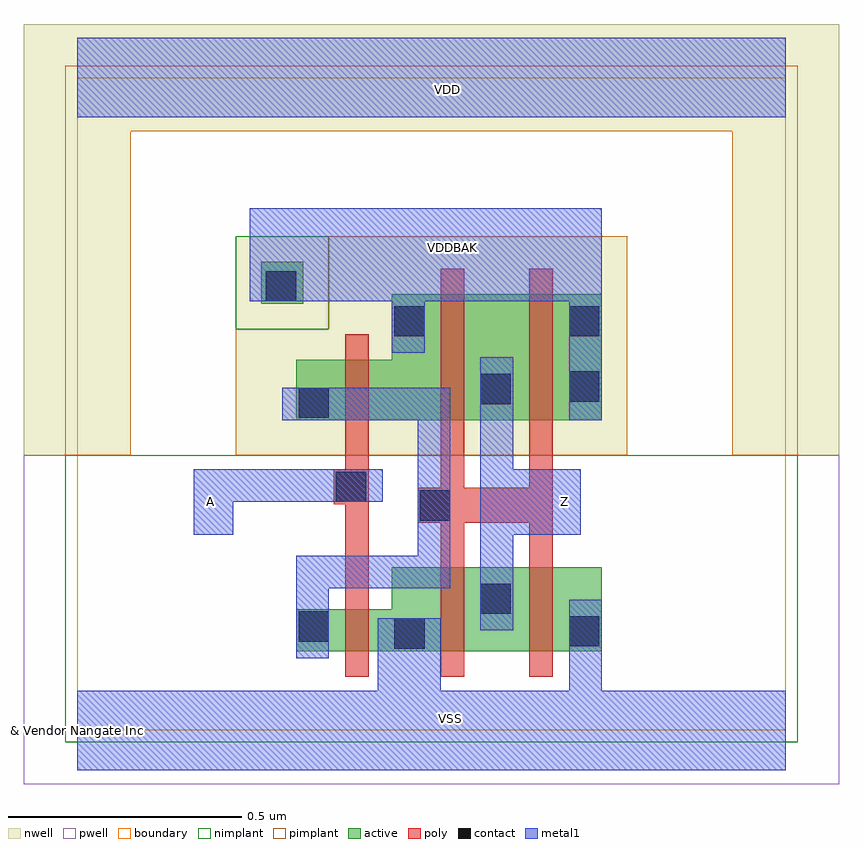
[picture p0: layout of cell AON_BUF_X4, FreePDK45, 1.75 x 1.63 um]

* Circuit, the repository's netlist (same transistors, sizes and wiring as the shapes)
* 
* ******************************************************************************
* *                                                                            *
* *                   Copyright (C) 2004-2011, Nangate Inc.                    *
* *                           All rights reserved.                             *
* *                                                                            *
* * Nangate and the Nangate logo are trademarks of Nangate Inc.                *
* *                                                                            *
* * All trademarks, logos, software marks, and trade names (collectively the   *
* * "Marks") in this program are proprietary to Nangate or other respective    *
* * owners that have granted Nangate the right and license to use such Marks.  *
* * You are not permitted to use the Marks without the prior written consent   *
* * of Nangate or such third party that may own the Marks.                     *
* *                                                                            *
* * This file has been provided pursuant to a License Agreement containing     *
* * restrictions on its use. This file contains valuable trade secrets and     *
* * proprietary information of Nangate Inc., and is protected by U.S. and      *
* * international laws and/or treaties.                                        *
* *                                                                            *
* * The copyright notice(s) in this file does not indicate actual or intended  *
* * publication of this file.                                                  *
* *                                                                            *
* *     NGLibraryCreator, v2010.08-HR32-SP3-2010-08-05 - build 1009061800      *
* *                                                                            *
* ******************************************************************************
* 
* 
* Running on server08.nangate.com for user Giancarlo Franciscatto (gfr).
* Local time is now Thu, 6 Jan 2011, 19:45:43.
* Main process id is 3320.
*
********************************************************************************
*                                                                              *
* Cellname:   AON_BUF_X4.                                                      *
*                                                                              *
* Technology: NCSU FreePDK 45nm.                                               *
* Format:     Cdl.                                                             *
*                                                                              *
* Written on server08.nangate.com for user Giancarlo Franciscatto (gfr)        *
* at 19:45:43 on Thu, 6 Jan 2011.                                              *
*                                                                              *
********************************************************************************
.SUBCKT AON_BUF_X4 A Z VDD VDDBAK VSS
*.PININFO A:I Z:O VDD:P VDDBAK:P VSS:G 
*.EQN Z=A
M_i_0 VSS A net_000 VSS NMOS_VTL W=0.090000U L=0.050000U
M_i_7 Z net_000 VSS VSS NMOS_VTL W=0.180000U L=0.050000U
M_i_14 VSS net_000 Z VSS NMOS_VTL W=0.180000U L=0.050000U
M_i_20 VDDBAK A net_000 VDDBAK PMOS_VTL W=0.130000U L=0.050000U
M_i_27 Z net_000 VDDBAK VDDBAK PMOS_VTL W=0.270000U L=0.050000U
M_i_33 VDDBAK net_000 Z VDDBAK PMOS_VTL W=0.270000U L=0.050000U
.ENDS 

********************************************************************************
*
* END
*
********************************************************************************

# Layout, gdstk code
import gdstk
lib = gdstk.Library(unit=1e-6, precision=1e-10)
def R(c, l, rs):  # rectangles x0, y0, x1, y1
    for r in rs: c.add(gdstk.rectangle(r[:2], r[2:], *l))
def P(c, l, *ps):  # polygons
    for p in ps: c.add(gdstk.Polygon(p, *l))
active = (1, 0)
pwell = (2, 0)
nwell = (3, 0)
nimplant = (4, 0)
pimplant = (5, 0)
poly = (9, 0)
contact = (10, 0)
metal1 = (11, 0)
boundary = (235, 0)

aon_buf_x4 = lib.new_cell('AON_BUF_X4')
R(aon_buf_x4, active, [(0.395,0.915,0.485,1.005)])
P(aon_buf_x4, active, [(0.47,0.17),(1.125,0.17),(1.125,0.35),(0.675,0.35),(0.675,0.26),(0.47,0.26)],
  [(0.47,0.665),(1.125,0.665),(1.125,0.935),(0.675,0.935),(0.675,0.795),(0.47,0.795)])
R(aon_buf_x4, pwell, [(-0.115,-0.115,1.635,0.59)])
R(aon_buf_x4, nwell, [(0.34,0.59,1.18,1.06)])
P(aon_buf_x4, nwell, [(-0.115,0.59),(0.115,0.59),(0.115,1.285),(1.405,1.285),(1.405,0.59),(1.635,0.59),(1.635,1.515),(-0.115,1.515)])
R(aon_buf_x4, nimplant, [(-0.025,-0.025,1.545,0.59), (0.34,0.86,0.54,1.06)])
P(aon_buf_x4, pimplant, [(0.34,0.59),(1.18,0.59),(1.18,1.06),(0.54,1.06),(0.54,0.86),(0.34,0.86)],
  [(-0.025,0.59),(0.115,0.59),(0.115,1.285),(1.405,1.285),(1.405,0.59),(1.545,0.59),(1.545,1.425),(-0.025,1.425)])
P(aon_buf_x4, poly, [(0.55,0.485),(0.575,0.485),(0.575,0.115),(0.625,0.115),(0.625,0.85),(0.575,0.85),(0.575,0.56),(0.55,0.56)],
  [(0.73,0.445),(0.78,0.445),(0.78,0.115),(0.83,0.115),(0.83,0.445),(0.97,0.445),(0.97,0.115),(1.02,0.115),(1.02,0.99),(0.97,0.99),(0.97,0.52),(0.83,0.52),(0.83,0.99),(0.78,0.99),(0.78,0.52),(0.73,0.52)])
R(aon_buf_x4, contact, [(0.68,0.175,0.745,0.24), (1.055,0.18,1.12,0.245), (0.475,0.19,0.54,0.255), (0.865,0.25,0.93,0.315), (0.735,0.45,0.8,0.515), (0.555,0.49,0.62,0.555), (0.475,0.67,0.54,0.735), (0.865,0.7,0.93,0.765), (1.055,0.705,1.12,0.77), (0.68,0.845,0.745,0.91), (1.055,0.845,1.12,0.91), (0.405,0.92,0.47,0.985)])
R(aon_buf_x4, metal1, [(0,1.315,1.52,1.485)])
P(aon_buf_x4, metal1, [(0,-0.085),(1.52,-0.085),(1.52,0.085),(1.125,0.085),(1.125,0.28),(1.055,0.28),(1.055,0.085),(0.78,0.085),(0.78,0.24),(0.645,0.24),(0.645,0.085),(0,0.085)],
  [(0.25,0.42),(0.335,0.42),(0.335,0.49),(0.655,0.49),(0.655,0.56),(0.25,0.56)],
  [(0.44,0.665),(0.73,0.665),(0.73,0.375),(0.47,0.375),(0.47,0.155),(0.54,0.155),(0.54,0.305),(0.8,0.305),(0.8,0.735),(0.44,0.735)],
  [(0.865,0.215),(0.935,0.215),(0.935,0.42),(1.08,0.42),(1.08,0.56),(0.935,0.56),(0.935,0.8),(0.865,0.8)],
  [(0.37,0.92),(0.675,0.92),(0.675,0.81),(0.745,0.81),(0.745,0.92),(1.055,0.92),(1.055,0.665),(1.125,0.665),(1.125,1.12),(0.37,1.12)])
R(aon_buf_x4, boundary, [(0,0,1.52,1.4)])
aon_buf_x4.add(gdstk.Label('VDDBAK', (0.805,1.035), layer=11, texttype=0))
aon_buf_x4.add(gdstk.Label('Z', (1.045,0.49), layer=11, texttype=0))
aon_buf_x4.add(gdstk.Label('A', (0.285,0.49), layer=11, texttype=0))
aon_buf_x4.add(gdstk.Label('VSS', (0.8,0.025), layer=11, texttype=0))
aon_buf_x4.add(gdstk.Label('VDD', (0.795,1.375), layer=11, texttype=0))
aon_buf_x4.add(gdstk.Label('& Vendor Nangate Inc', (0,0), layer=63, texttype=63))
aon_buf_x4.add(gdstk.Label('& Product Open Cell Library', (0,0), layer=63, texttype=63))
aon_buf_x4.add(gdstk.Label('& Version 2010_12', (0,0), layer=63, texttype=63))
aon_buf_x4.add(gdstk.Label('& Instance AON_BUF_X4', (0,0), layer=63, texttype=63))

lib.write_gds('AON_BUF_X4.gds')
